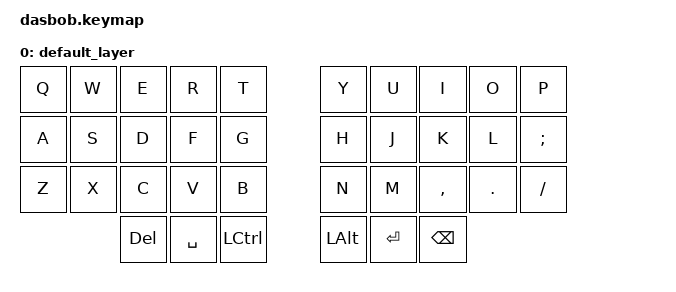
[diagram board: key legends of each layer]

 

#include <behaviors.dtsi>
#include <dt-bindings/zmk/keys.h>
#include <dt-bindings/zmk/bt.h>

/ {

	keymap {
		compatible = "zmk,keymap";

		// This is a sample keymap intended to be replaced with your own
		default_layer {
			bindings = <
				&kp Q     &kp W     &kp E     &kp R     &kp T     &kp Y     &kp U     &kp I     &kp O     &kp P
				&kp A     &kp S     &kp D     &kp F     &kp G     &kp H     &kp J     &kp K     &kp L     &kp SEMI
				&kp Z     &kp X     &kp C     &kp V     &kp B     &kp N     &kp M     &kp COMMA &kp DOT   &kp SLASH
				                    &kp DEL   &kp SPACE &kp LCTRL &kp LALT  &kp ENTER &kp BSPC
			>;
		};

	};
};
